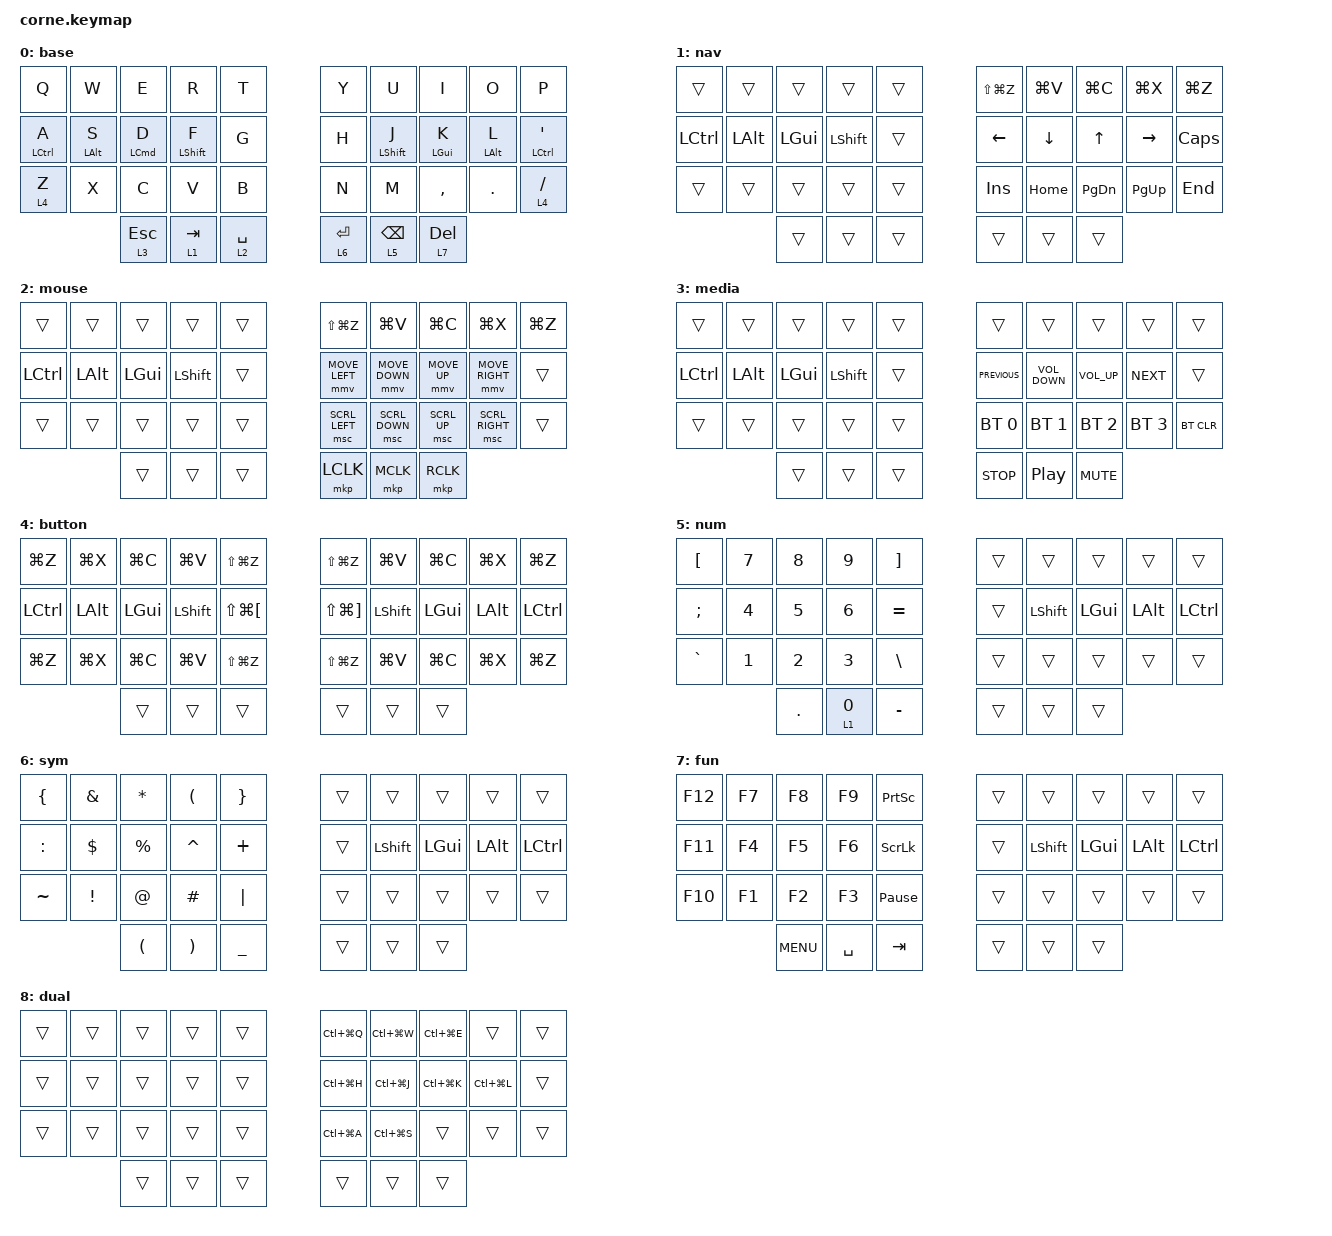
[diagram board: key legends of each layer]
/*
 * Copyright (c) 2020 The ZMK Contributors
 *
 * SPDX-License-Identifier: MIT
 */

#include <behaviors.dtsi>
#include <dt-bindings/zmk/bt.h>
#include <dt-bindings/zmk/keys.h>
#include <dt-bindings/zmk/pointing.h>

#define DEFAULT_L 0

&mt {
    tapping-term-ms = <150>;
    quick-tap-ms = <200>;
    flavor = "tap-preferred";
};

&lt {
    tapping-term-ms = <300>;
    quick-tap-ms = <200>;
};

/ {
    chosen { zmk,matrix_transform = &five_column_transform; };

    behaviors {
        hm: homerow_mods {
            compatible = "zmk,behavior-hold-tap";
            label = "HOMEROW_MODS";
            #binding-cells = <2>;
            tapping-term-ms = <250>;
            flavor = "tap-preferred";
            bindings = <&kp>, <&kp>;
        };
    };

    combos {
        compatible = "zmk,combos";

        esc {
            bindings = <&kp ESCAPE>;
            key-positions = <0 1>;
        };

        grave {
            bindings = <&kp GRAVE>;
            key-positions = <10 11>;
        };

        tilde {
            bindings = <&kp TILDE>;
            key-positions = <20 21>;
        };

        brace_left {
            bindings = <&kp LEFT_BRACE>;
            key-positions = <11 12>;
        };

        brace_right {
            bindings = <&kp RIGHT_BRACE>;
            key-positions = <18 17>;
        };

        bracket_left {
            bindings = <&kp LEFT_BRACKET>;
            key-positions = <21 22>;
        };

        bracket_right {
            bindings = <&kp RIGHT_BRACKET>;
            key-positions = <27 28>;
        };

        parenthesis_left {
            bindings = <&kp LEFT_PARENTHESIS>;
            key-positions = <12 13>;
        };

        parenthesis_right {
            bindings = <&kp RIGHT_PARENTHESIS>;
            key-positions = <16 17>;
        };

        less_than {
            bindings = <&kp LESS_THAN>;
            key-positions = <22 23>;
        };

        greater_than {
            bindings = <&kp GREATER_THAN>;
            key-positions = <26 27>;
        };

        backspace {
            bindings = <&kp BACKSPACE>;
            key-positions = <8 9>;
        };
    };

    keymap {
        compatible = "zmk,keymap";

        base {
            bindings = <
  &kp Q               &kp W           &kp E               &kp R             &kp T          &kp Y        &kp U            &kp I           &kp O           &kp P
  &hm LEFT_CONTROL A  &hm LEFT_ALT S  &hm LEFT_COMMAND D  &hm LEFT_SHIFT F  &kp G          &kp H        &hm LSHIFT J     &hm LEFT_GUI K  &hm LEFT_ALT L  &hm LEFT_CONTROL APOSTROPHE
  &lt 4 Z             &kp X           &kp C               &kp V             &kp B          &kp N        &kp M            &kp COMMA       &kp DOT         &lt 4 SLASH
                                      &lt 3 ESCAPE        &lt 1 TAB         &lt 2 SPACE    &lt 6 ENTER  &lt 5 BACKSPACE  &lt 7 DELETE
            >;
        };

        nav {
            bindings = <
  &trans     &trans    &trans    &trans     &trans    &kp LS(LG(Z))  &kp LG(V)  &kp LG(C)      &kp LG(X)    &kp LG(Z)
  &kp LCTRL  &kp LALT  &kp LGUI  &kp LSHFT  &trans    &kp LEFT       &kp DOWN   &kp UP         &kp RIGHT    &kp CAPS
  &trans     &trans    &trans    &trans     &trans    &kp INSERT     &kp HOME   &kp PAGE_DOWN  &kp PAGE_UP  &kp END
                       &trans    &trans     &trans    &trans         &trans     &trans
            >;
        };

        mouse {
            bindings = <
  &trans     &trans    &trans    &trans     &trans    &kp LS(LG(Z))   &kp LG(V)       &kp LG(C)     &kp LG(X)        &kp LG(Z)
  &kp LCTRL  &kp LALT  &kp LGUI  &kp LSHFT  &trans    &mmv MOVE_LEFT  &mmv MOVE_DOWN  &mmv MOVE_UP  &mmv MOVE_RIGHT  &trans
  &trans     &trans    &trans    &trans     &trans    &msc SCRL_LEFT  &msc SCRL_DOWN  &msc SCRL_UP  &msc SCRL_RIGHT  &trans
                       &trans    &trans     &trans    &mkp LCLK       &mkp MCLK       &mkp RCLK
            >;
        };

        media {
            bindings = <
  &trans     &trans    &trans    &trans     &trans    &trans          &trans             &trans           &trans        &trans
  &kp LCTRL  &kp LALT  &kp LGUI  &kp LSHFT  &trans    &kp C_PREVIOUS  &kp C_VOLUME_DOWN  &kp C_VOLUME_UP  &kp C_NEXT    &trans
  &trans     &trans    &trans    &trans     &trans    &bt BT_SEL 0    &bt BT_SEL 1       &bt BT_SEL 2     &bt BT_SEL 3  &bt BT_CLR
                       &trans    &trans     &trans    &kp C_STOP      &kp C_PLAY_PAUSE   &kp C_MUTE
            >;
        };

        button {
            bindings = <
  &kp LG(Z)  &kp LG(X)  &kp LG(C)  &kp LG(V)  &kp LS(LG(Z))       &kp LS(LG(Z))     &kp LG(V)  &kp LG(C)  &kp LG(X)  &kp LG(Z)
  &kp LCTRL  &kp LALT   &kp LGUI   &kp LSHFT  &kp LS(LG(LBKT))    &kp LS(LG(RBKT))  &kp LSHFT  &kp LGUI   &kp LALT   &kp LCTRL
  &kp LG(Z)  &kp LG(X)  &kp LG(C)  &kp LG(V)  &kp LS(LG(Z))       &kp LS(LG(Z))     &kp LG(V)  &kp LG(C)  &kp LG(X)  &kp LG(Z)
                        &trans     &trans     &trans              &trans            &trans     &trans
            >;
        };

        num {
            bindings = <
  &kp LBKT   &kp N7  &kp N8   &kp N9    &kp RBKT     &trans  &trans     &trans    &trans    &trans
  &kp SEMI   &kp N4  &kp N5   &kp N6    &kp EQUAL    &trans  &kp LSHFT  &kp LGUI  &kp LALT  &kp LCTRL
  &kp GRAVE  &kp N1  &kp N2   &kp N3    &kp BSLH     &trans  &trans     &trans    &trans    &trans
                     &kp DOT  &lt 1 N0  &kp MINUS    &trans  &trans     &trans
            >;
        };

        sym {
            bindings = <
  &kp LEFT_BRACE  &kp AMPERSAND    &kp ASTERISK          &kp LEFT_PARENTHESIS   &kp RIGHT_BRACE    &trans  &trans     &trans    &trans    &trans
  &kp COLON       &kp DOLLAR       &kp PERCENT           &kp CARET              &kp PLUS           &trans  &kp LSHFT  &kp LGUI  &kp LALT  &kp LCTRL
  &kp TILDE       &kp EXCLAMATION  &kp AT_SIGN           &kp POUND              &kp PIPE           &trans  &trans     &trans    &trans    &trans
                                   &kp LEFT_PARENTHESIS  &kp RIGHT_PARENTHESIS  &kp UNDERSCORE     &trans  &trans     &trans
            >;
        };

        fun {
            bindings = <
  &kp F12  &kp F7  &kp F8      &kp F9     &kp PRINTSCREEN    &trans  &trans     &trans    &trans    &trans
  &kp F11  &kp F4  &kp F5      &kp F6     &kp SCROLLLOCK     &trans  &kp LSHFT  &kp LGUI  &kp LALT  &kp LCTRL
  &kp F10  &kp F1  &kp F2      &kp F3     &kp PAUSE_BREAK    &trans  &trans     &trans    &trans    &trans
                   &kp C_MENU  &kp SPACE  &kp TAB            &trans  &trans     &trans
            >;
        };

        dual {
            bindings = <
  &trans  &trans  &trans  &trans  &trans    &kp LC(LG(Q))  &kp LC(LG(W))  &kp LC(LG(E))  &trans         &trans
  &trans  &trans  &trans  &trans  &trans    &kp LC(LG(H))  &kp LC(LG(J))  &kp LC(LG(K))  &kp LC(LG(L))  &trans
  &trans  &trans  &trans  &trans  &trans    &kp LC(LG(A))  &kp LC(LG(S))  &trans         &trans         &trans
                  &trans  &trans  &trans    &trans         &trans         &trans
            >;
        };
    };

    conditional_layers {
        compatible = "zmk,conditional-layers";

        dual {
            if-layers = <1 5>;
            then-layer = <8>;
        };
    };
};
